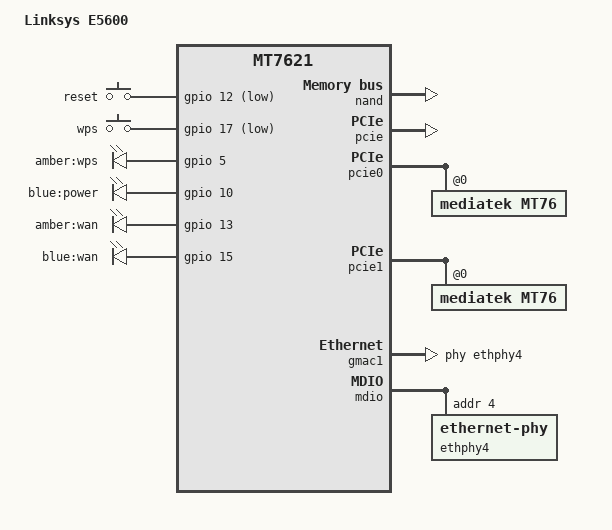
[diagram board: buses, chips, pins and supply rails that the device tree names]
// SPDX-License-Identifier: GPL-2.0-or-later OR MIT

#include "mt7621.dtsi"

#include <dt-bindings/gpio/gpio.h>
#include <dt-bindings/input/input.h>

/ {
	compatible = "linksys,e5600", "mediatek,mt7621-soc";
	model = "Linksys E5600";

	aliases {
		led-boot = &led_power;
		led-failsafe = &led_power;
		led-running = &led_power;
		led-upgrade = &led_power;
	};

	chosen {
		bootargs = "console=ttyS0,115200";
	};

	keys {
		compatible = "gpio-keys";

		reset {
			label = "reset";
			gpios = <&gpio 12 GPIO_ACTIVE_LOW>;
			linux,code = <KEY_RESTART>;
		};

		wps {
			label = "wps";
			gpios = <&gpio 17 GPIO_ACTIVE_LOW>;
			linux,code = <KEY_WPS_BUTTON>;
		};
	};

	leds {
		compatible = "gpio-leds";

		wps {
			label = "amber:wps";
			gpios = <&gpio 5 GPIO_ACTIVE_HIGH>;
		};

		led_power: power {
			label = "blue:power";
			gpios = <&gpio 10 GPIO_ACTIVE_HIGH>;
			default-state = "on";
		};

		wan_amber {
			label = "amber:wan";
			gpios = <&gpio 13 GPIO_ACTIVE_HIGH>;
		};

		wan_blue {
			label = "blue:wan";
			gpios = <&gpio 15 GPIO_ACTIVE_HIGH>;
		};
	};
};

&nand {
	status = "okay";

	partitions {
		compatible = "fixed-partitions";
		#address-cells = <1>;
		#size-cells = <1>;

		partition@0 {
			label = "boot";
			reg = <0x0 0x80000>;
			read-only;
		};

		partition@80000 {
			label = "u_env";
			reg = <0x80000 0x40000>;
			read-only;
		};

		factory: partition@c0000 {
			label = "factory";
			reg = <0xc0000 0x40000>;
			read-only;
		};

		partition@100000 {
			label = "s_env";
			reg = <0x100000 0x40000>;
		};

		partition@140000 {
			label = "devinfo";
			reg = <0x140000 0x40000>;
			read-only;
		};

		partition@180000 {
			label = "kernel";
			reg = <0x180000 0x400000>;
		};

		partition@580000 {
			label = "ubi";
			reg = <0x580000 0x1a00000>;
		};

		partition@1f80000 {
			label = "alt_firmware";
			reg = <0x1f80000 0x1e00000>;
		};

		partition@3d80000 {
			label = "gdata";
			reg = <0x3d80000 0x4200000>;
		};
	};
};

&state_default {
	gpio {
		groups = "uart2", "uart3", "jtag";
		function = "gpio";
	};
};

&pcie {
	status = "okay";
};

&pcie0 {
	mt76@0,0 {
		compatible = "mediatek,mt76";
		reg = <0x0000 0 0 0 0>;
		mediatek,mtd-eeprom = <&factory 0x0000>;
	};
};

&pcie1 {
	mt76@0,0 {
		compatible = "mediatek,mt76";
		reg = <0x0000 0 0 0 0>;
		mediatek,mtd-eeprom = <&factory 0x8000>;
	};
};

&gmac1 {
	status = "okay";
	label = "wan";
	phy-handle = <&ethphy4>;
};

&mdio {
	ethphy4: ethernet-phy@4 {
		reg = <4>;
	};
};

&switch0 {
	ports {
		port@0 {
			status = "okay";
			label = "lan1";
		};

		port@1 {
			status = "okay";
			label = "lan2";
		};

		port@2 {
			status = "okay";
			label = "lan3";
		};

		port@3 {
			status = "okay";
			label = "lan4";
		};
	};
};

&xhci {
	status = "disabled";
};
